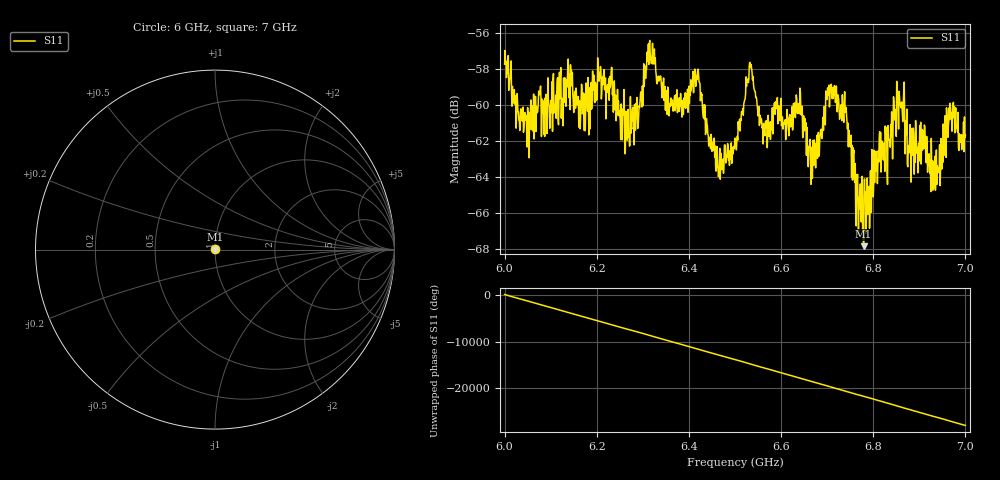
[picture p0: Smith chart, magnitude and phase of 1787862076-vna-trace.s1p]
! Created with skrf 1.10.0 (http://scikit-rf.org).
# Hz S RI R 50.0
!freq ReS11 ImS11
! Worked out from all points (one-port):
!   1001 points, 6 GHz to 7 GHz, reference 50 ohm
!   lowest |S11| = -67.9 dB at 6.779 GHz (marker M1), VSWR 1.00, Z = 50 - j0.0382 ohm
!   |S11| at or under -10 dB: start of sweep to end of sweep
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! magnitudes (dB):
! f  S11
! 6 GHz  -57.7
! 6.049 GHz  -62.3
! 6.125 GHz  -59.6
! 6.142 GHz  -60.2
! 6.178 GHz  -59.6
! 6.207 GHz  -58.5
! 6.25 GHz  -60.6
! 6.286 GHz  -60.5
! 6.316 GHz  -57.1
! 6.375 GHz  -60.4
! 6.418 GHz  -58.3
! 6.463 GHz  -63.4
! 6.5 GHz  -61.8
! 6.532 GHz  -57.6
! 6.56 GHz  -61.2
! 6.625 GHz  -61.4
! 6.641 GHz  -59.0
! 6.67 GHz  -62.8
! 6.712 GHz  -59.0
! 6.738 GHz  -59.2
! 6.75 GHz  -62.3
! 6.779 GHz  -67.9
! 6.856 GHz  -59.2
! 6.875 GHz  -63.4
! 6.908 GHz  -61.4
! 6.933 GHz  -63.2
! 6.969 GHz  -60.4
! 7 GHz  -61.7
